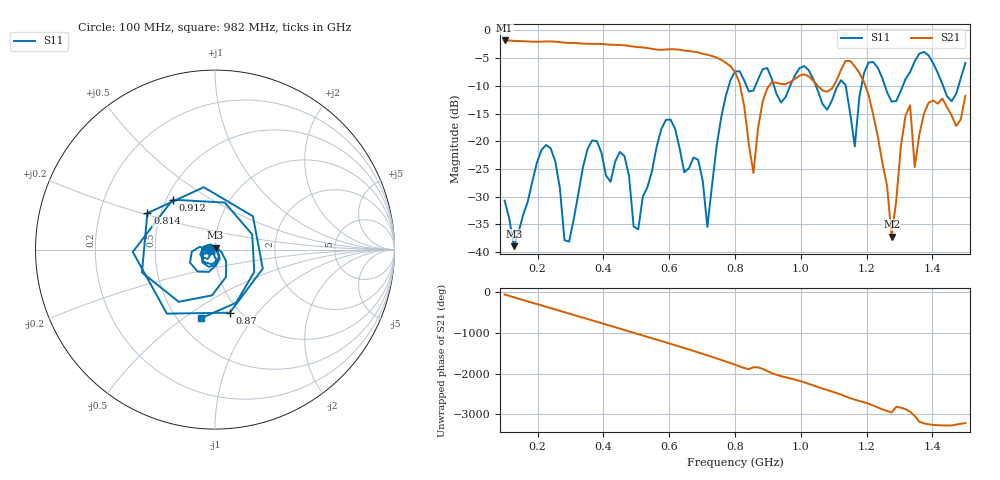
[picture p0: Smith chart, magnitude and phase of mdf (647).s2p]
! NanoVNA-App
! Date: 2025-09-25 15:43:27
! Start: 100MHz Stop: 1,5GHz Points: 101
! S-Parameter data: F S11 S21 S12 S22
# Hz S RI R 50
!  Frequency  S11_Real  S11_Imag  S21_Real  S21_Imag  S12_Real  S12_Imag  S22_Real  S22_Imag
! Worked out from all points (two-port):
!   101 points, 100 MHz to 1.5 GHz, reference 50 ohm
!   highest |S21| = -1.80 dB at 100 MHz (marker M1); lowest = -37.2 dB at 1.276 GHz (marker M2)
!   |S21| within 3 dB of the highest: start of sweep to 739.5 MHz
!   lowest |S11| = -39.0 dB at 128 MHz (marker M3), VSWR 1.02, Z = 50.3 + j1.08 ohm
!   |S11| at or under -10 dB: start of sweep to 781.1 MHz; 1.046 GHz to 1.112 GHz (66.45 MHz wide, 6.16 % of centre); 1.256 GHz to 1.31 GHz (54.31 MHz wide, 4.23 % of centre) (the widest 3 of 7)
!   S12 and S22 are empty: the file has one direction only
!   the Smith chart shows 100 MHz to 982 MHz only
!   S11 on the Smith chart (normalised r, x): 100 MHz: 0.94, -0.01; 814 MHz: 0.42, +0.21; 870 MHz: 0.90, -0.73; 912 MHz: 0.54, +0.35; 982 MHz: 0.65, -0.58
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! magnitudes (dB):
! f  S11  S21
! 100 MHz  -30.7  -1.8
! 128 MHz  -39.0  -1.9
! 212 MHz  -21.6  -2.0
! 282 MHz  -37.9  -2.2
! 338 MHz  -24.7  -2.4
! 464 MHz  -22.7  -2.7
! 506 MHz  -35.9  -3.0
! 576 MHz  -17.8  -3.5
! 716 MHz  -35.5  -4.4
! 800 MHz  -7.4  -7.5
! 814 MHz  -7.4  -9.6
! 856 MHz  -10.9  -25.7
! 870 MHz  -8.8  -17.6
! 912 MHz  -8.8  -9.4
! 982 MHz  -8.1  -8.8
! 1.038 GHz  -8.8  -9.1
! 1.164 GHz  -20.9  -6.5
! 1.178 GHz  -11.9  -7.7
! 1.276 GHz  -12.9  -37.2
! 1.332 GHz  -7.5  -13.5
! 1.346 GHz  -5.6  -24.7
! 1.5 GHz  -5.9  -11.8
